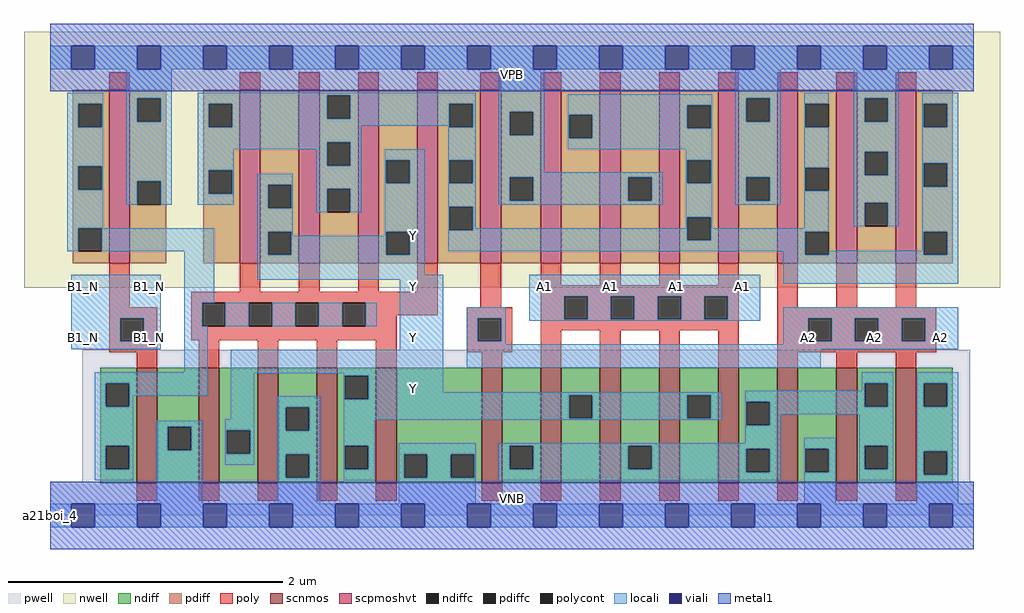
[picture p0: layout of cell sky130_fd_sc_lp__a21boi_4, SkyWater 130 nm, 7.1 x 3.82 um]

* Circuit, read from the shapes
.subckt sky130_fd_sc_lp__a21boi_4 A1 A2 B1_N VGND VNB VPB VPWR Y
XM1 VGND B1_N n1 VNB sky130_fd_pr__nfet_01v8 w=0.84 l=0.15
XM2 Y n1 VGND VNB sky130_fd_pr__nfet_01v8 w=0.84 l=0.15 m=4
XM3 n2 A2 VGND VNB sky130_fd_pr__nfet_01v8 w=0.84 l=0.15 m=4
XM4 Y A1 n2 VNB sky130_fd_pr__nfet_01v8 w=0.84 l=0.15 m=4
XM5 VPWR B1_N n1 VPB sky130_fd_pr__pfet_01v8_hvt w=1.26 l=0.15
XM6 Y n1 n3 VPB sky130_fd_pr__pfet_01v8_hvt w=1.26 l=0.15 m=4
XM7 VPWR A2 n3 VPB sky130_fd_pr__pfet_01v8_hvt w=1.26 l=0.15 m=4
XM8 n3 A1 VPWR VPB sky130_fd_pr__pfet_01v8_hvt w=1.26 l=0.15 m=4
.ends

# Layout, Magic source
magic
tech sky130A
magscale 1 2
<< nwell >>
rect -38 331 1382 704
<< pwell >>
rect 47 49 1339 241
rect 0 0 1344 49
<< scnmos >>
rect 126 47 156 215
rect 216 47 246 215
rect 302 47 332 215
rect 388 47 418 215
rect 474 47 504 215
rect 628 47 658 215
rect 714 47 744 215
rect 800 47 830 215
rect 886 47 916 215
rect 972 47 1002 215
rect 1058 47 1088 215
rect 1144 47 1174 215
rect 1230 47 1260 215
<< scpmoshvt >>
rect 86 367 116 619
rect 276 367 306 619
rect 362 367 392 619
rect 448 367 478 619
rect 534 367 564 619
rect 626 367 656 619
rect 714 367 744 619
rect 800 367 830 619
rect 886 367 916 619
rect 972 367 1002 619
rect 1058 367 1088 619
rect 1144 367 1174 619
rect 1230 367 1260 619
<< ndiff >>
rect 73 192 126 215
rect 73 158 81 192
rect 115 158 126 192
rect 73 101 126 158
rect 73 67 81 101
rect 115 67 126 101
rect 73 47 126 67
rect 156 129 216 215
rect 156 95 171 129
rect 205 95 216 129
rect 156 47 216 95
rect 246 124 302 215
rect 246 90 257 124
rect 291 90 302 124
rect 246 47 302 90
rect 332 157 388 215
rect 332 123 343 157
rect 377 123 388 157
rect 332 89 388 123
rect 332 55 343 89
rect 377 55 388 89
rect 332 47 388 55
rect 418 203 474 215
rect 418 169 429 203
rect 463 169 474 203
rect 418 101 474 169
rect 418 67 429 101
rect 463 67 474 101
rect 418 47 474 67
rect 504 89 628 215
rect 504 55 515 89
rect 549 55 583 89
rect 617 55 628 89
rect 504 47 628 55
rect 658 101 714 215
rect 658 67 669 101
rect 703 67 714 101
rect 658 47 714 67
rect 744 175 800 215
rect 744 141 755 175
rect 789 141 800 175
rect 744 47 800 141
rect 830 101 886 215
rect 830 67 841 101
rect 875 67 886 101
rect 830 47 886 67
rect 916 175 972 215
rect 916 141 927 175
rect 961 141 972 175
rect 916 47 972 141
rect 1002 165 1058 215
rect 1002 131 1013 165
rect 1047 131 1058 165
rect 1002 97 1058 131
rect 1002 63 1013 97
rect 1047 63 1058 97
rect 1002 47 1058 63
rect 1088 97 1144 215
rect 1088 63 1099 97
rect 1133 63 1144 97
rect 1088 47 1144 63
rect 1174 192 1230 215
rect 1174 158 1185 192
rect 1219 158 1230 192
rect 1174 101 1230 158
rect 1174 67 1185 101
rect 1219 67 1230 101
rect 1174 47 1230 67
rect 1260 192 1313 215
rect 1260 158 1271 192
rect 1305 158 1313 192
rect 1260 93 1313 158
rect 1260 59 1271 93
rect 1305 59 1313 93
rect 1260 47 1313 59
<< pdiff >>
rect 33 599 86 619
rect 33 565 41 599
rect 75 565 86 599
rect 33 508 86 565
rect 33 474 41 508
rect 75 474 86 508
rect 33 418 86 474
rect 33 384 41 418
rect 75 384 86 418
rect 33 367 86 384
rect 116 607 169 619
rect 116 573 127 607
rect 161 573 169 607
rect 116 486 169 573
rect 116 452 127 486
rect 161 452 169 486
rect 116 367 169 452
rect 223 599 276 619
rect 223 565 231 599
rect 265 565 276 599
rect 223 502 276 565
rect 223 468 231 502
rect 265 468 276 502
rect 223 367 276 468
rect 306 481 362 619
rect 306 447 317 481
rect 351 447 362 481
rect 306 413 362 447
rect 306 379 317 413
rect 351 379 362 413
rect 306 367 362 379
rect 392 611 448 619
rect 392 577 403 611
rect 437 577 448 611
rect 392 543 448 577
rect 392 509 403 543
rect 437 509 448 543
rect 392 475 448 509
rect 392 441 403 475
rect 437 441 448 475
rect 392 367 448 441
rect 478 517 534 619
rect 478 483 489 517
rect 523 483 534 517
rect 478 413 534 483
rect 478 379 489 413
rect 523 379 534 413
rect 478 367 534 379
rect 564 599 626 619
rect 564 565 581 599
rect 615 565 626 599
rect 564 517 626 565
rect 564 483 581 517
rect 615 483 626 517
rect 564 449 626 483
rect 564 415 581 449
rect 615 415 626 449
rect 564 367 626 415
rect 656 587 714 619
rect 656 553 669 587
rect 703 553 714 587
rect 656 492 714 553
rect 656 458 669 492
rect 703 458 714 492
rect 656 367 714 458
rect 744 583 800 619
rect 744 549 755 583
rect 789 549 800 583
rect 744 367 800 549
rect 830 492 886 619
rect 830 458 841 492
rect 875 458 886 492
rect 830 367 886 458
rect 916 597 972 619
rect 916 563 927 597
rect 961 563 972 597
rect 916 517 972 563
rect 916 483 927 517
rect 961 483 972 517
rect 916 434 972 483
rect 916 400 927 434
rect 961 400 972 434
rect 916 367 972 400
rect 1002 607 1058 619
rect 1002 573 1013 607
rect 1047 573 1058 607
rect 1002 492 1058 573
rect 1002 458 1013 492
rect 1047 458 1058 492
rect 1002 367 1058 458
rect 1088 599 1144 619
rect 1088 565 1099 599
rect 1133 565 1144 599
rect 1088 506 1144 565
rect 1088 472 1099 506
rect 1133 472 1144 506
rect 1088 413 1144 472
rect 1088 379 1099 413
rect 1133 379 1144 413
rect 1088 367 1144 379
rect 1174 607 1230 619
rect 1174 573 1185 607
rect 1219 573 1230 607
rect 1174 529 1230 573
rect 1174 495 1185 529
rect 1219 495 1230 529
rect 1174 455 1230 495
rect 1174 421 1185 455
rect 1219 421 1230 455
rect 1174 367 1230 421
rect 1260 599 1313 619
rect 1260 565 1271 599
rect 1305 565 1313 599
rect 1260 512 1313 565
rect 1260 478 1271 512
rect 1305 478 1313 512
rect 1260 413 1313 478
rect 1260 379 1271 413
rect 1305 379 1313 413
rect 1260 367 1313 379
<< ndiffc >>
rect 81 158 115 192
rect 81 67 115 101
rect 171 95 205 129
rect 257 90 291 124
rect 343 123 377 157
rect 343 55 377 89
rect 429 169 463 203
rect 429 67 463 101
rect 515 55 549 89
rect 583 55 617 89
rect 669 67 703 101
rect 755 141 789 175
rect 841 67 875 101
rect 927 141 961 175
rect 1013 131 1047 165
rect 1013 63 1047 97
rect 1099 63 1133 97
rect 1185 158 1219 192
rect 1185 67 1219 101
rect 1271 158 1305 192
rect 1271 59 1305 93
<< pdiffc >>
rect 41 565 75 599
rect 41 474 75 508
rect 41 384 75 418
rect 127 573 161 607
rect 127 452 161 486
rect 231 565 265 599
rect 231 468 265 502
rect 317 447 351 481
rect 317 379 351 413
rect 403 577 437 611
rect 403 509 437 543
rect 403 441 437 475
rect 489 483 523 517
rect 489 379 523 413
rect 581 565 615 599
rect 581 483 615 517
rect 581 415 615 449
rect 669 553 703 587
rect 669 458 703 492
rect 755 549 789 583
rect 841 458 875 492
rect 927 563 961 597
rect 927 483 961 517
rect 927 400 961 434
rect 1013 573 1047 607
rect 1013 458 1047 492
rect 1099 565 1133 599
rect 1099 472 1133 506
rect 1099 379 1133 413
rect 1185 573 1219 607
rect 1185 495 1219 529
rect 1185 421 1219 455
rect 1271 565 1305 599
rect 1271 478 1305 512
rect 1271 379 1305 413
<< poly >>
rect 86 619 116 645
rect 276 619 306 645
rect 362 619 392 645
rect 448 619 478 645
rect 534 619 564 645
rect 626 619 656 645
rect 714 619 744 645
rect 800 619 830 645
rect 886 619 916 645
rect 972 619 1002 645
rect 1058 619 1088 645
rect 1144 619 1174 645
rect 1230 619 1260 645
rect 86 303 116 367
rect 276 325 306 367
rect 362 325 392 367
rect 448 325 478 367
rect 534 325 564 367
rect 205 309 564 325
rect 86 287 156 303
rect 86 253 102 287
rect 136 253 156 287
rect 205 275 221 309
rect 255 275 289 309
rect 323 275 357 309
rect 391 275 425 309
rect 459 291 564 309
rect 626 303 656 367
rect 714 335 744 367
rect 800 335 830 367
rect 886 335 916 367
rect 972 335 1002 367
rect 714 319 1002 335
rect 459 275 504 291
rect 205 255 504 275
rect 86 237 156 253
rect 126 215 156 237
rect 216 215 246 255
rect 302 215 332 255
rect 388 215 418 255
rect 474 215 504 255
rect 606 287 672 303
rect 606 253 622 287
rect 656 253 672 287
rect 606 237 672 253
rect 714 285 748 319
rect 782 285 816 319
rect 850 285 884 319
rect 918 285 952 319
rect 986 285 1002 319
rect 714 269 1002 285
rect 628 215 658 237
rect 714 215 744 269
rect 800 215 830 269
rect 886 215 916 269
rect 972 215 1002 269
rect 1058 303 1088 367
rect 1144 303 1174 367
rect 1230 303 1260 367
rect 1058 287 1289 303
rect 1058 253 1103 287
rect 1137 253 1171 287
rect 1205 253 1239 287
rect 1273 253 1289 287
rect 1058 237 1289 253
rect 1058 215 1088 237
rect 1144 215 1174 237
rect 1230 215 1260 237
rect 126 21 156 47
rect 216 21 246 47
rect 302 21 332 47
rect 388 21 418 47
rect 474 21 504 47
rect 628 21 658 47
rect 714 21 744 47
rect 800 21 830 47
rect 886 21 916 47
rect 972 21 1002 47
rect 1058 21 1088 47
rect 1144 21 1174 47
rect 1230 21 1260 47
<< polycont >>
rect 102 253 136 287
rect 221 275 255 309
rect 289 275 323 309
rect 357 275 391 309
rect 425 275 459 309
rect 622 253 656 287
rect 748 285 782 319
rect 816 285 850 319
rect 884 285 918 319
rect 952 285 986 319
rect 1103 253 1137 287
rect 1171 253 1205 287
rect 1239 253 1273 287
<< locali >>
rect 0 649 31 683
rect 65 649 127 683
rect 161 649 223 683
rect 257 649 319 683
rect 353 649 415 683
rect 449 649 511 683
rect 545 649 607 683
rect 641 649 703 683
rect 737 649 799 683
rect 833 649 895 683
rect 929 649 991 683
rect 1025 649 1087 683
rect 1121 649 1183 683
rect 1217 649 1279 683
rect 1313 649 1344 683
rect 25 599 77 615
rect 25 565 41 599
rect 75 565 77 599
rect 25 508 77 565
rect 25 474 41 508
rect 75 474 77 508
rect 25 418 77 474
rect 111 607 177 649
rect 111 573 127 607
rect 161 573 177 607
rect 111 486 177 573
rect 111 452 127 486
rect 161 452 177 486
rect 215 611 619 615
rect 215 599 403 611
rect 215 565 231 599
rect 265 577 403 599
rect 437 599 619 611
rect 437 577 581 599
rect 265 567 581 577
rect 265 565 453 567
rect 215 543 453 565
rect 215 533 403 543
rect 215 502 267 533
rect 215 468 231 502
rect 265 468 267 502
rect 387 509 403 533
rect 437 509 453 543
rect 579 565 581 567
rect 615 565 619 599
rect 215 452 267 468
rect 301 481 353 497
rect 301 447 317 481
rect 351 447 353 481
rect 25 384 41 418
rect 75 384 239 418
rect 31 287 161 350
rect 31 253 102 287
rect 136 253 161 287
rect 31 242 161 253
rect 195 309 239 384
rect 301 413 353 447
rect 387 475 453 509
rect 387 441 403 475
rect 437 441 453 475
rect 487 517 545 533
rect 487 483 489 517
rect 523 483 545 517
rect 301 379 317 413
rect 351 407 353 413
rect 487 413 545 483
rect 487 407 489 413
rect 351 379 489 407
rect 523 379 545 413
rect 579 517 619 565
rect 579 483 581 517
rect 615 483 619 517
rect 579 449 619 483
rect 653 587 719 649
rect 653 553 669 587
rect 703 553 719 587
rect 653 499 719 553
rect 753 597 963 613
rect 753 583 927 597
rect 753 549 755 583
rect 789 563 927 583
rect 961 563 963 597
rect 789 549 963 563
rect 753 533 963 549
rect 925 517 963 533
rect 653 492 891 499
rect 653 458 669 492
rect 703 458 841 492
rect 875 458 891 492
rect 653 452 891 458
rect 925 483 927 517
rect 961 483 963 517
rect 579 415 581 449
rect 615 418 619 449
rect 925 434 963 483
rect 997 607 1063 649
rect 997 573 1013 607
rect 1047 573 1063 607
rect 997 492 1063 573
rect 997 458 1013 492
rect 1047 458 1063 492
rect 997 452 1063 458
rect 1097 599 1133 615
rect 1097 565 1099 599
rect 1097 506 1133 565
rect 1097 472 1099 506
rect 925 418 927 434
rect 615 415 927 418
rect 579 400 927 415
rect 961 418 963 434
rect 1097 418 1133 472
rect 1169 607 1235 649
rect 1169 573 1185 607
rect 1219 573 1235 607
rect 1169 529 1235 573
rect 1169 495 1185 529
rect 1219 495 1235 529
rect 1169 455 1235 495
rect 1169 421 1185 455
rect 1219 421 1235 455
rect 1269 599 1321 615
rect 1269 565 1271 599
rect 1305 565 1321 599
rect 1269 512 1321 565
rect 1269 478 1271 512
rect 1305 478 1321 512
rect 961 413 1133 418
rect 961 400 1099 413
rect 579 384 1099 400
rect 301 350 545 379
rect 1067 379 1099 384
rect 1269 413 1321 478
rect 1269 385 1271 413
rect 1133 379 1271 385
rect 1305 379 1321 413
rect 301 343 572 350
rect 195 275 221 309
rect 255 275 289 309
rect 323 275 357 309
rect 391 275 425 309
rect 459 275 475 309
rect 195 208 229 275
rect 509 241 572 343
rect 697 319 1033 350
rect 1067 337 1321 379
rect 65 192 229 208
rect 65 158 81 192
rect 115 174 229 192
rect 263 207 572 241
rect 606 287 663 303
rect 606 253 622 287
rect 656 253 663 287
rect 697 285 748 319
rect 782 285 816 319
rect 850 285 884 319
rect 918 285 952 319
rect 986 285 1033 319
rect 697 283 1033 285
rect 1067 287 1321 303
rect 606 249 663 253
rect 1067 253 1103 287
rect 1137 253 1171 287
rect 1205 253 1239 287
rect 1273 253 1321 287
rect 1067 249 1321 253
rect 606 242 1321 249
rect 606 215 1121 242
rect 115 158 121 174
rect 65 101 121 158
rect 263 140 297 207
rect 427 203 572 207
rect 65 67 81 101
rect 115 67 121 101
rect 65 51 121 67
rect 155 129 221 138
rect 155 95 171 129
rect 205 95 221 129
rect 155 17 221 95
rect 255 124 297 140
rect 255 90 257 124
rect 291 90 297 124
rect 255 74 297 90
rect 331 157 393 173
rect 331 123 343 157
rect 377 123 393 157
rect 331 89 393 123
rect 331 55 343 89
rect 377 55 393 89
rect 331 17 393 55
rect 427 169 429 203
rect 463 179 572 203
rect 1181 192 1227 208
rect 1181 181 1185 192
rect 463 175 977 179
rect 463 169 755 175
rect 427 141 755 169
rect 789 141 927 175
rect 961 141 977 175
rect 427 139 977 141
rect 1011 165 1185 181
rect 427 101 473 139
rect 1011 131 1013 165
rect 1047 158 1185 165
rect 1219 158 1227 192
rect 1047 147 1227 158
rect 1047 131 1063 147
rect 1011 105 1063 131
rect 427 67 429 101
rect 463 67 473 101
rect 427 51 473 67
rect 507 89 619 105
rect 507 55 515 89
rect 549 55 583 89
rect 617 55 619 89
rect 507 17 619 55
rect 653 101 1063 105
rect 653 67 669 101
rect 703 67 841 101
rect 875 97 1063 101
rect 875 67 1013 97
rect 653 63 1013 67
rect 1047 63 1063 97
rect 653 51 1063 63
rect 1097 97 1143 113
rect 1097 63 1099 97
rect 1133 63 1143 97
rect 1097 17 1143 63
rect 1177 101 1227 147
rect 1177 67 1185 101
rect 1219 67 1227 101
rect 1177 51 1227 67
rect 1261 192 1321 208
rect 1261 158 1271 192
rect 1305 158 1321 192
rect 1261 93 1321 158
rect 1261 59 1271 93
rect 1305 59 1321 93
rect 1261 17 1321 59
rect 0 -17 31 17
rect 65 -17 127 17
rect 161 -17 223 17
rect 257 -17 319 17
rect 353 -17 415 17
rect 449 -17 511 17
rect 545 -17 607 17
rect 641 -17 703 17
rect 737 -17 799 17
rect 833 -17 895 17
rect 929 -17 991 17
rect 1025 -17 1087 17
rect 1121 -17 1183 17
rect 1217 -17 1279 17
rect 1313 -17 1344 17
<< viali >>
rect 31 649 65 683
rect 127 649 161 683
rect 223 649 257 683
rect 319 649 353 683
rect 415 649 449 683
rect 511 649 545 683
rect 607 649 641 683
rect 703 649 737 683
rect 799 649 833 683
rect 895 649 929 683
rect 991 649 1025 683
rect 1087 649 1121 683
rect 1183 649 1217 683
rect 1279 649 1313 683
rect 31 -17 65 17
rect 127 -17 161 17
rect 223 -17 257 17
rect 319 -17 353 17
rect 415 -17 449 17
rect 511 -17 545 17
rect 607 -17 641 17
rect 703 -17 737 17
rect 799 -17 833 17
rect 895 -17 929 17
rect 991 -17 1025 17
rect 1087 -17 1121 17
rect 1183 -17 1217 17
rect 1279 -17 1313 17
<< metal1 >>
rect 0 683 1344 715
rect 0 649 31 683
rect 65 649 127 683
rect 161 649 223 683
rect 257 649 319 683
rect 353 649 415 683
rect 449 649 511 683
rect 545 649 607 683
rect 641 649 703 683
rect 737 649 799 683
rect 833 649 895 683
rect 929 649 991 683
rect 1025 649 1087 683
rect 1121 649 1183 683
rect 1217 649 1279 683
rect 1313 649 1344 683
rect 0 617 1344 649
rect 0 17 1344 49
rect 0 -17 31 17
rect 65 -17 127 17
rect 161 -17 223 17
rect 257 -17 319 17
rect 353 -17 415 17
rect 449 -17 511 17
rect 545 -17 607 17
rect 641 -17 703 17
rect 737 -17 799 17
rect 833 -17 895 17
rect 929 -17 991 17
rect 1025 -17 1087 17
rect 1121 -17 1183 17
rect 1217 -17 1279 17
rect 1313 -17 1344 17
rect 0 -49 1344 -17
<< labels >>
flabel pwell s 0 0 1344 49 0 FreeSans 200 0 0 0 VNB
port 5 nsew ground bidirectional
flabel nwell s 0 617 1344 666 0 FreeSans 200 0 0 0 VPB
port 6 nsew power bidirectional
rlabel comment s 0 0 0 0 4 a21boi_4
flabel metal1 s 0 617 1344 666 0 FreeSans 340 0 0 0 VPWR
port 7 nsew power bidirectional
flabel metal1 s 0 0 1344 49 0 FreeSans 340 0 0 0 VGND
port 4 nsew ground bidirectional
flabel locali s 1087 242 1121 276 0 FreeSans 340 0 0 0 A2
port 2 nsew signal input
flabel locali s 1183 242 1217 276 0 FreeSans 340 0 0 0 A2
port 2 nsew signal input
flabel locali s 1279 242 1313 276 0 FreeSans 340 0 0 0 A2
port 2 nsew signal input
flabel locali s 31 242 65 276 0 FreeSans 340 0 0 0 B1_N
port 3 nsew signal input
flabel locali s 31 316 65 350 0 FreeSans 340 0 0 0 B1_N
port 3 nsew signal input
flabel locali s 127 242 161 276 0 FreeSans 340 0 0 0 B1_N
port 3 nsew signal input
flabel locali s 127 316 161 350 0 FreeSans 340 0 0 0 B1_N
port 3 nsew signal input
flabel locali s 703 316 737 350 0 FreeSans 340 0 0 0 A1
port 1 nsew signal input
flabel locali s 799 316 833 350 0 FreeSans 340 0 0 0 A1
port 1 nsew signal input
flabel locali s 895 316 929 350 0 FreeSans 340 0 0 0 A1
port 1 nsew signal input
flabel locali s 991 316 1025 350 0 FreeSans 340 0 0 0 A1
port 1 nsew signal input
flabel locali s 511 168 545 202 0 FreeSans 340 0 0 0 Y
port 8 nsew signal output
flabel locali s 511 242 545 276 0 FreeSans 340 0 0 0 Y
port 8 nsew signal output
flabel locali s 511 316 545 350 0 FreeSans 340 0 0 0 Y
port 8 nsew signal output
flabel locali s 511 390 545 424 0 FreeSans 340 0 0 0 Y
port 8 nsew signal output
<< properties >>
string LEFsite unit
string LEFclass CORE
string FIXED_BBOX 0 0 1344 666
string GDS_FILE $PDKPATH/libs.ref/sky130_fd_sc_lp/gds/sky130_fd_sc_lp.gds
string LEFsymmetry X Y R90
string GDS_END 5477584
string GDS_START 5465528
<< end >>
